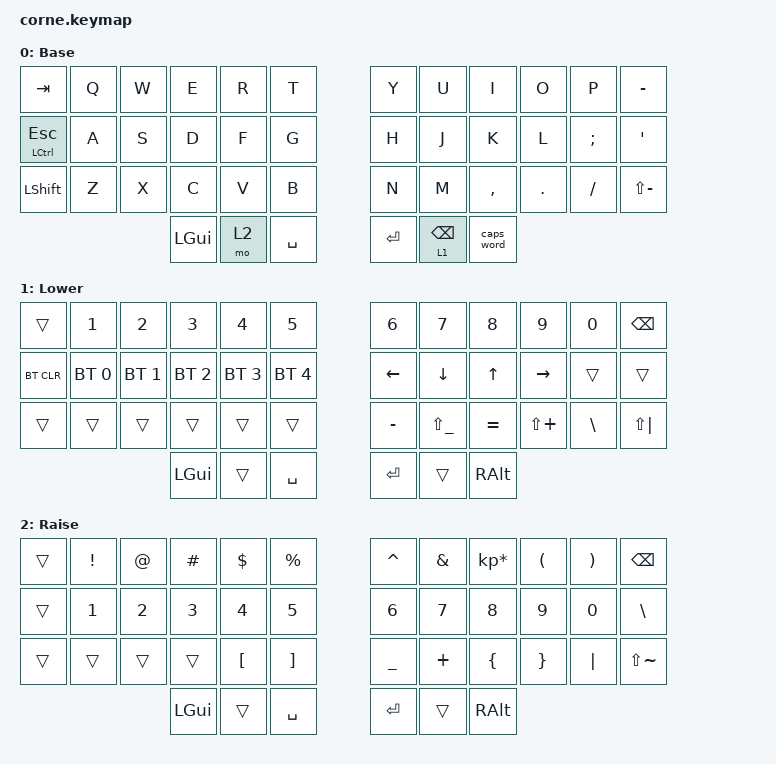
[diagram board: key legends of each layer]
/*
 * Copyright (c) 2020 The ZMK Contributors
 *
 * SPDX-License-Identifier: MIT
 */

#include <behaviors.dtsi>
#include <dt-bindings/zmk/bt.h>
#include <dt-bindings/zmk/keys.h>

/ {
    combos {
        compatible = "zmk,combos";

        grave {
            bindings = <&kp GRAVE>;
            key-positions = <1 0>;
        };
    };

    keymap {
        compatible = "zmk,keymap";

        default_layer {
            // -----------------------------------------------------------------------------------------
            // |  TAB |  Q  |  W  |  E  |  R  |  T  |   |  Y  |  U   |  I  |  O  |  P  | BKSP |
            // | CTRL |  A  |  S  |  D  |  F  |  G  |   |  H  |  J   |  K  |  L  |  ;  |  '   |
            // | SHFT |  Z  |  X  |  C  |  V  |  B  |   |  N  |  M   |  ,  |  .  |  /  | ESC  |
            //                    | GUI | LWR | SPC |   | ENT | RSE  | ALT |

            display-name = "Base";
            bindings = <
&kp TAB           &kp Q  &kp W  &kp E     &kp R  &kp T        &kp Y    &kp U            &kp I       &kp O    &kp P     &kp MINUS
&mt LCTRL ESCAPE  &kp A  &kp S  &kp D     &kp F  &kp G        &kp H    &kp J            &kp K       &kp L    &kp SEMI  &kp SQT
&kp LSHFT         &kp Z  &kp X  &kp C     &kp V  &kp B        &kp N    &kp M            &kp COMMA   &kp DOT  &kp FSLH  &kp LS(MINUS)
                                &kp LGUI  &mo 2  &kp SPACE    &kp RET  &lt 1 BACKSPACE  &caps_word
            >;
        };

        lower_layer {
            // -----------------------------------------------------------------------------------------
            // |  TAB |  1  |  2  |  3  |  4  |  5  |   |  6  |  7  |  8  |  9  |  0  | BKSP |
            // | BTCLR| BT1 | BT2 | BT3 | BT4 | BT5 |   | LFT | DWN |  UP | RGT |     |      |
            // | SHFT |     |     |     |     |     |   |     |     |     |     |     |      |
            //                    | GUI |     | SPC |   | ENT |     | ALT |

            display-name = "Lower";
            bindings = <
&trans      &kp N1        &kp N2        &kp N3        &kp N4        &kp N5          &kp N6     &kp N7         &kp N8     &kp N9        &kp N0    &kp BSPC
&bt BT_CLR  &bt BT_SEL 0  &bt BT_SEL 1  &bt BT_SEL 2  &bt BT_SEL 3  &bt BT_SEL 4    &kp LEFT   &kp DOWN       &kp UP     &kp RIGHT     &trans    &trans
&trans      &trans        &trans        &trans        &trans        &trans          &kp MINUS  &kp LS(UNDER)  &kp EQUAL  &kp LS(PLUS)  &kp BSLH  &kp LS(PIPE)
                                        &kp LGUI      &trans        &kp SPACE       &kp RET    &trans         &kp RALT
            >;
        };

        raise_layer {
            // -----------------------------------------------------------------------------------------
            // |  TAB |  !  |  @  |  #  |  $  |  %  |   |  ^  |  &  |  *  |  (  |  )  | BKSP |
            // | CTRL |     |     |     |     |     |   |  -  |  =  |  [  |  ]  |  \  |  `   |
            // | SHFT |     |     |     |     |     |   |  _  |  +  |  {  |  }  | "|" |  ~   |
            //                    | GUI |     | SPC |   | ENT |     | ALT |

            display-name = "Raise";
            bindings = <
&trans  &kp EXCL  &kp AT  &kp HASH  &kp DLLR  &kp PRCNT    &kp CARET  &kp AMPS  &kp KP_MULTIPLY  &kp LPAR  &kp RPAR  &kp BSPC
&trans  &kp N1    &kp N2  &kp N3    &kp N4    &kp N5       &kp N6     &kp N7    &kp N8           &kp N9    &kp N0    &kp BSLH
&trans  &trans    &trans  &trans    &kp LBKT  &kp RBKT     &kp UNDER  &kp PLUS  &kp LBRC         &kp RBRC  &kp PIPE  &kp LS(TILDE)
                          &kp LGUI  &trans    &kp SPACE    &kp RET    &trans    &kp RALT
            >;
        };

        extra_1 { status = "reserved"; };

        extra_2 { status = "reserved"; };

        extra_3 { status = "reserved"; };
    };
};
